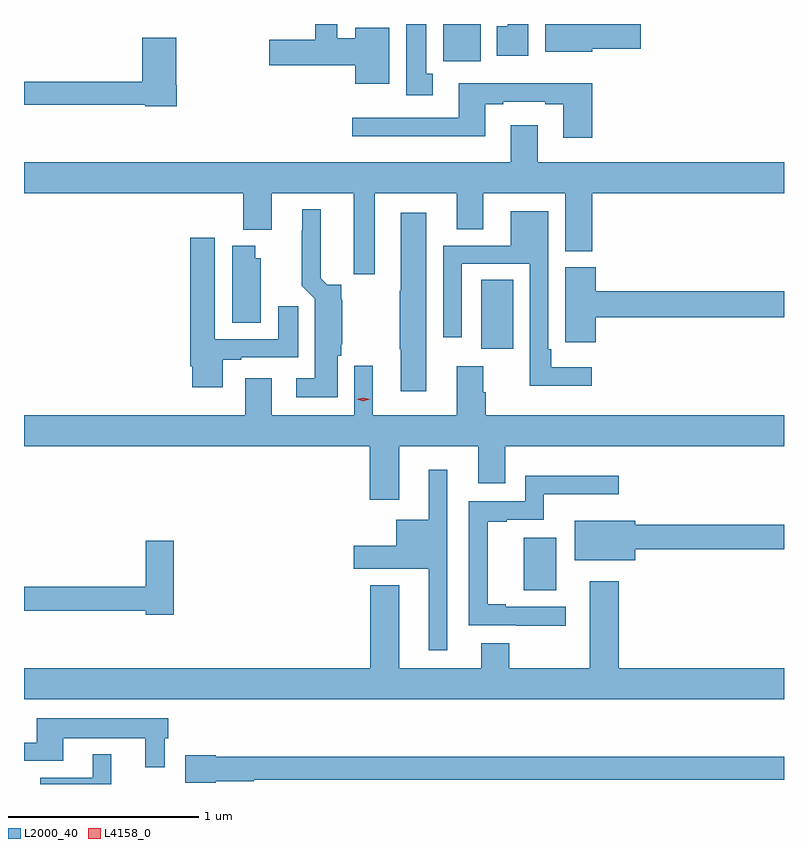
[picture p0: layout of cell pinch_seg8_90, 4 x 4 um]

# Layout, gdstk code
import gdstk
lib = gdstk.Library(unit=1e-6, precision=1e-09)
def R(c, l, rs):  # rectangles x0, y0, x1, y1
    for r in rs: c.add(gdstk.rectangle(r[:2], r[2:], *l))
def P(c, l, *ps):  # polygons
    for p in ps: c.add(gdstk.Polygon(p, *l))
L2000_40 = (2000, 40)
L4158_0 = (4158, 0)

pinch_seg8_90 = lib.new_cell('pinch_seg8_90')
R(pinch_seg8_90, L2000_40, [(1094.411,1106.42,1094.584,1106.695), (1094.189,1107.69,1094.356,1108.052), (1093.988,1109.204,1094.185,1109.399)])
P(pinch_seg8_90, L2000_40, [(1093.933,1109.138),(1093.9,1109.138),(1093.9,1109.399),(1093.793,1109.399),(1093.793,1109.025),(1093.933,1109.025)],
  [(1093.705,1109.38),(1093.526,1109.38),(1093.526,1109.325),(1093.431,1109.325),(1093.431,1109.399),(1093.315,1109.399),(1093.315,1109.317),(1093.074,1109.317),(1093.074,1109.183),(1093.526,1109.183),(1093.526,1109.084),(1093.705,1109.084)],
  [(1094.437,1109.399),(1094.327,1109.399),(1094.327,1109.388),(1094.27,1109.388),(1094.27,1109.232),(1094.437,1109.232)],
  [(1094.772,1109.27),(1095.029,1109.27),(1095.029,1109.399),(1094.525,1109.399),(1094.525,1109.252),(1094.772,1109.252)],
  [(1092.587,1109.077),(1092.582,1109.077),(1092.582,1109.326),(1092.404,1109.326),(1092.404,1109.095),(1091.782,1109.095),(1091.782,1108.974),(1092.42,1108.974),(1092.42,1108.966),(1092.587,1108.966)],
  [(1094.774,1109.086),(1094.069,1109.086),(1094.069,1108.905),(1093.509,1108.905),(1093.509,1108.808),(1094.209,1108.808),(1094.209,1108.977),(1094.305,1108.977),(1094.305,1108.989),(1094.525,1108.989),(1094.525,1108.977),(1094.621,1108.977),(1094.621,1108.8),(1094.774,1108.8)],
  [(1093.627,1108.508),(1094.06,1108.508),(1094.06,1108.318),(1094.2,1108.318),(1094.2,1108.508),(1094.63,1108.508),(1094.63,1108.204),(1094.774,1108.204),(1094.774,1108.508),(1095.782,1108.508),(1095.782,1108.672),(1094.485,1108.672),(1094.485,1108.867),(1094.345,1108.867),(1094.345,1108.672),(1091.782,1108.672),(1091.782,1108.508),(1092.935,1108.508),(1092.935,1108.316),(1093.087,1108.316),(1093.087,1108.508),(1093.517,1108.508),(1093.517,1108.083),(1093.627,1108.083)],
  [(1093.432,1107.654),(1093.452,1107.654),(1093.452,1107.714),(1093.458,1107.714),(1093.458,1107.946),(1093.452,1107.952),(1093.452,1108.026),(1093.378,1108.026),(1093.345,1108.06),(1093.345,1108.423),(1093.247,1108.423),(1093.247,1108.313),(1093.243,1108.313),(1093.243,1108.022),(1093.313,1107.952),(1093.313,1107.535),(1093.215,1107.535),(1093.215,1107.434),(1093.432,1107.434)],
  [(1094.77,1107.592),(1094.557,1107.592),(1094.557,1107.688),(1094.541,1107.688),(1094.541,1108.414),(1094.345,1108.414),(1094.345,1108.233),(1093.989,1108.233),(1093.989,1107.75),(1094.085,1107.75),(1094.085,1108.137),(1094.445,1108.137),(1094.445,1107.494),(1094.77,1107.494)],
  [(1093.9,1108.405),(1093.766,1108.405),(1093.766,1107.995),(1093.759,1107.995),(1093.759,1107.688),(1093.766,1107.688),(1093.766,1107.465),(1093.9,1107.465)],
  [(1092.829,1107.633),(1092.925,1107.633),(1092.925,1107.645),(1093.225,1107.645),(1093.225,1107.913),(1093.121,1107.913),(1093.121,1107.741),(1092.787,1107.741),(1092.787,1108.273),(1092.656,1108.273),(1092.656,1107.598),(1092.668,1107.598),(1092.668,1107.486),(1092.829,1107.486)],
  [(1093.027,1108.167),(1093,1108.167),(1093,1108.231),(1092.878,1108.231),(1092.878,1107.826),(1093.027,1107.826)],
  [(1094.792,1107.856),(1095.782,1107.856),(1095.782,1107.992),(1094.792,1107.992),(1094.792,1108.119),(1094.63,1108.119),(1094.63,1107.835),(1094.631,1107.835),(1094.631,1107.723),(1094.792,1107.723)],
  [(1093.756,1107.176),(1094.174,1107.176),(1094.174,1106.982),(1094.314,1106.982),(1094.314,1107.176),(1095.782,1107.176),(1095.782,1107.34),(1094.213,1107.34),(1094.213,1107.461),(1094.2,1107.461),(1094.2,1107.598),(1094.06,1107.598),(1094.06,1107.34),(1093.618,1107.34),(1093.618,1107.601),(1093.521,1107.601),(1093.521,1107.34),(1093.087,1107.34),(1093.087,1107.535),(1092.947,1107.535),(1092.947,1107.34),(1091.782,1107.34),(1091.782,1107.176),(1093.601,1107.176),(1093.601,1106.895),(1093.756,1106.895)],
  [(1094.01,1107.052),(1093.913,1107.052),(1093.913,1106.791),(1093.742,1106.791),(1093.742,1106.653),(1093.518,1106.653),(1093.518,1106.531),(1093.913,1106.531),(1093.913,1106.103),(1094.01,1106.103)],
  [(1094.632,1106.331),(1094.317,1106.331),(1094.317,1106.344),(1094.222,1106.344),(1094.222,1106.778),(1094.324,1106.778),(1094.324,1106.79),(1094.518,1106.79),(1094.518,1106.924),(1094.911,1106.924),(1094.911,1107.022),(1094.421,1107.022),(1094.421,1106.886),(1094.124,1106.886),(1094.124,1106.235),(1094.373,1106.235),(1094.373,1106.233),(1094.632,1106.233)],
  [(1094.998,1106.635),(1095.782,1106.635),(1095.782,1106.764),(1094.998,1106.764),(1094.998,1106.785),(1094.681,1106.785),(1094.681,1106.576),(1094.998,1106.576)],
  [(1092.569,1106.68),(1092.422,1106.68),(1092.422,1106.438),(1091.782,1106.438),(1091.782,1106.31),(1092.422,1106.31),(1092.422,1106.291),(1092.569,1106.291)],
  [(1095.782,1106.008),(1094.912,1106.008),(1094.912,1106.467),(1094.759,1106.467),(1094.759,1106.008),(1094.337,1106.008),(1094.337,1106.14),(1094.189,1106.14),(1094.189,1106.008),(1093.756,1106.008),(1093.756,1106.446),(1093.604,1106.446),(1093.604,1106.008),(1091.782,1106.008),(1091.782,1105.844),(1095.782,1105.844)],
  [(1092.523,1105.639),(1092.541,1105.639),(1092.541,1105.744),(1091.849,1105.744),(1091.849,1105.617),(1091.782,1105.617),(1091.782,1105.521),(1091.989,1105.521),(1091.989,1105.64),(1092.419,1105.64),(1092.419,1105.488),(1092.523,1105.488)],
  [(1092.241,1105.555),(1092.143,1105.555),(1092.143,1105.431),(1091.867,1105.431),(1091.867,1105.399),(1092.241,1105.399)],
  [(1092.792,1105.414),(1092.992,1105.414),(1092.992,1105.422),(1095.782,1105.422),(1095.782,1105.543),(1092.792,1105.543),(1092.792,1105.551),(1092.63,1105.551),(1092.63,1105.406),(1092.792,1105.406)])
P(pinch_seg8_90, L4158_0, [(1093.568,1107.413),(1093.533,1107.423),(1093.533,1107.423),(1093.533,1107.424),(1093.568,1107.433),(1093.603,1107.424),(1093.604,1107.423),(1093.603,1107.423)])

lib.write_gds('pinch_seg8_90.gds')
